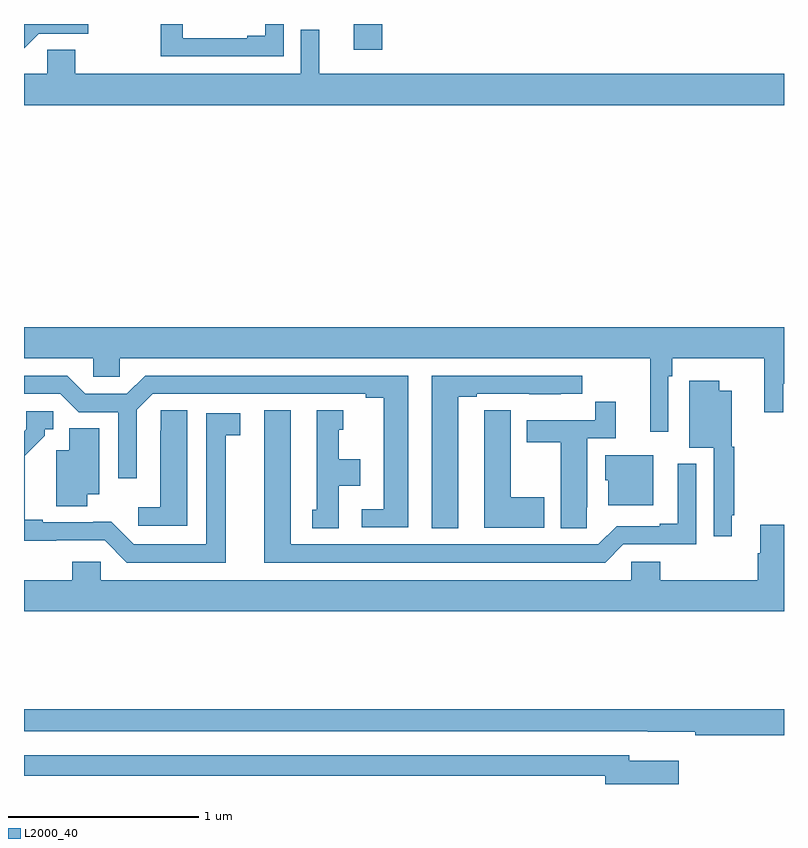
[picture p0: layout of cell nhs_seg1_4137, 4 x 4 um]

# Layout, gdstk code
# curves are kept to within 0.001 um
import gdstk
lib = gdstk.Library(unit=1e-6, precision=1e-09)
def R(c, l, rs):  # rectangles x0, y0, x1, y1
    for r in rs: c.add(gdstk.rectangle(r[:2], r[2:], *l))
def P(c, l, *ps):  # polygons
    for p in ps: c.add(gdstk.Polygon(p, *l))
L2000_40 = (2000, 40)

nhs_seg1_4137 = lib.new_cell('nhs_seg1_4137')
R(nhs_seg1_4137, L2000_40, [(338.735,512.064,338.885,512.199)])
P(nhs_seg1_4137, L2000_40, [(337.077,512.148),(337.338,512.148),(337.338,512.199),(337,512.199),(337,512.071)],
  [(338.367,512.199),(338.27,512.199),(338.27,512.137),(338.174,512.137),(338.174,512.124),(337.836,512.124),(337.836,512.199),(337.721,512.199),(337.721,512.028),(338.367,512.028)],
  [(341,511.936),(338.555,511.936),(338.555,512.17),(338.457,512.17),(338.457,511.936),(337.269,511.936),(337.269,512.063),(337.122,512.063),(337.122,511.936),(337,511.936),(337,511.772),(341,511.772)],
  [(340.392,510.344),(340.412,510.344),(340.412,510.44),(340.897,510.44),(340.897,510.156),(340.996,510.156),(340.996,510.306),(341,510.306),(341,510.604),(337,510.604),(337,510.44),(337.365,510.44),(337.365,510.342),(337.503,510.342),(337.503,510.44),(340.295,510.44),(340.295,510.054),(340.392,510.054)],
  [(339.286,510.237),(339.382,510.237),(339.382,510.252),(339.658,510.252),(339.658,510.251),(339.824,510.251),(339.824,510.252),(339.937,510.252),(339.937,510.348),(339.146,510.348),(339.146,509.545),(339.286,509.545)],
  [(339.022,510.348),(337.637,510.348),(337.541,510.252),(337.323,510.252),(337.227,510.348),(337,510.348),(337,510.252),(337.191,510.252),(337.287,510.156),(337.497,510.156),(337.497,509.808),(337.593,509.808),(337.593,510.168),(337.677,510.252),(338.798,510.252),(338.798,510.232),(338.894,510.232),(338.894,509.646),(338.778,509.646),(338.778,509.55),(339.022,509.55)],
  [(340.726,509.614),(340.738,509.614),(340.738,509.973),(340.726,509.973),(340.726,510.268),(340.66,510.268),(340.66,510.322),(340.502,510.322),(340.502,509.969),(340.629,509.969),(340.629,509.502),(340.726,509.502)],
  [(339.963,509.656),(339.964,509.656),(339.964,510.018),(340.115,510.018),(340.115,510.211),(340.006,510.211),(340.006,510.114),(339.647,510.114),(339.647,509.998),(339.824,509.998),(339.824,509.545),(339.963,509.545)],
  [(339.739,509.709),(339.562,509.709),(339.562,510.167),(339.423,510.167),(339.423,510.059),(339.422,510.059),(339.422,509.549),(339.739,509.549)],
  [(337.858,510.167),(337.719,510.167),(337.719,510.059),(337.718,510.059),(337.718,509.656),(337.602,509.656),(337.602,509.559),(337.858,509.559)],
  [(340.155,509.46),(340.539,509.46),(340.539,509.884),(340.442,509.884),(340.442,509.569),(340.346,509.569),(340.346,509.556),(340.119,509.556),(340.023,509.46),(338.404,509.46),(338.404,510.166),(338.264,510.166),(338.264,509.364),(340.059,509.364)],
  [(338.656,509.768),(338.77,509.768),(338.77,509.908),(338.656,509.908),(338.656,510.063),(338.68,510.063),(338.68,510.166),(338.54,510.166),(338.54,509.643),(338.516,509.643),(338.516,509.545),(338.656,509.545)],
  [(338.062,510.034),(338.137,510.034),(338.137,510.15),(337.958,510.15),(337.958,509.46),(337.578,509.46),(337.46,509.578),(337.099,509.577),(337.099,509.59),(337.003,509.59),(337.003,509.926),(337.108,510.031),(337.108,510.066),(337.153,510.066),(337.153,510.162),(337.011,510.162),(337.011,510.066),(337,510.055),(337,509.48),(337.425,509.481),(337.542,509.364),(338.062,509.364)],
  [(337.333,509.723),(337.396,509.723),(337.396,510.071),(337.238,510.071),(337.238,509.956),(337.169,509.956),(337.169,509.662),(337.333,509.662)],
  [(340.312,509.929),(340.058,509.929),(340.058,509.799),(340.076,509.799),(340.076,509.666),(340.312,509.666)],
  [(341,509.563),(340.874,509.563),(340.874,509.414),(340.862,509.414),(340.862,509.272),(340.349,509.272),(340.349,509.37),(340.197,509.37),(340.197,509.272),(337.404,509.272),(337.404,509.37),(337.253,509.37),(337.253,509.272),(337,509.272),(337,509.108),(341,509.108)],
  [(341,508.592),(337,508.592),(337,508.476),(340.282,508.476),(340.282,508.475),(340.534,508.475),(340.534,508.456),(341,508.456)],
  [(340.447,508.321),(340.186,508.321),(340.186,508.35),(337,508.35),(337,508.242),(340.058,508.242),(340.058,508.199),(340.447,508.199)])

lib.write_gds('nhs_seg1_4137.gds')
